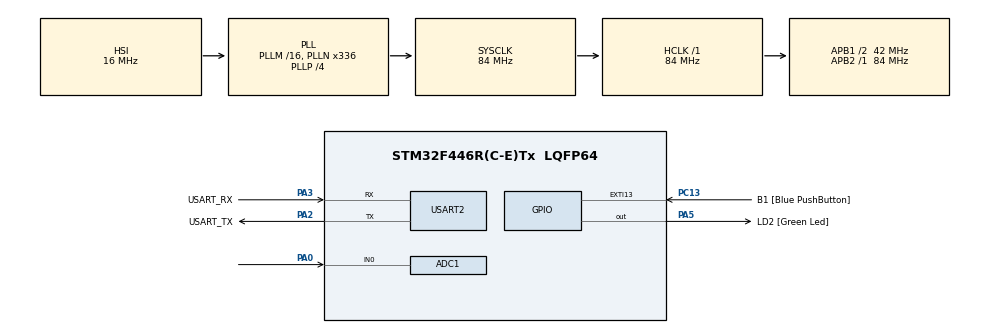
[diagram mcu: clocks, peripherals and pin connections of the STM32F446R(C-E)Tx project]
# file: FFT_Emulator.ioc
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ADC1.Channel-0\#ChannelRegularConversion=ADC_CHANNEL_0
ADC1.ContinuousConvMode=ENABLE
ADC1.DMAContinuousRequests=ENABLE
ADC1.NbrOfConversionFlag=1
ADC1.Rank-0\#ChannelRegularConversion=1
ADC1.SamplingTime-0\#ChannelRegularConversion=ADC_SAMPLETIME_3CYCLES
ADC1.master=1
Dma.ADC1.0.Direction=DMA_PERIPH_TO_MEMORY
Dma.ADC1.0.FIFOMode=DMA_FIFOMODE_DISABLE
Dma.ADC1.0.Instance=DMA2_Stream0
Dma.ADC1.0.MemDataAlignment=DMA_MDATAALIGN_HALFWORD
Dma.ADC1.0.MemInc=DMA_MINC_ENABLE
Dma.ADC1.0.Mode=DMA_CIRCULAR
Dma.ADC1.0.PeriphDataAlignment=DMA_PDATAALIGN_HALFWORD
Dma.ADC1.0.PeriphInc=DMA_PINC_DISABLE
Dma.ADC1.0.Priority=DMA_PRIORITY_LOW
Dma.Request0=ADC1
Dma.Request1=USART2_TX
Dma.USART2_TX.1.Direction=DMA_MEMORY_TO_PERIPH
Dma.USART2_TX.1.FIFOMode=DMA_FIFOMODE_DISABLE
Dma.USART2_TX.1.Instance=DMA1_Stream6
Dma.USART2_TX.1.MemDataAlignment=DMA_MDATAALIGN_BYTE
Dma.USART2_TX.1.MemInc=DMA_MINC_ENABLE
Dma.USART2_TX.1.Mode=DMA_NORMAL
Dma.USART2_TX.1.PeriphDataAlignment=DMA_PDATAALIGN_BYTE
Dma.USART2_TX.1.PeriphInc=DMA_PINC_DISABLE
Dma.USART2_TX.1.Priority=DMA_PRIORITY_LOW
Mcu.Family=STM32F4
Mcu.Name=STM32F446R(C-E)Tx
Mcu.Package=LQFP64
NVIC.DMA1_Stream6_IRQn=true\:0\:0\:false\:false\:true\:false\:true\:true
NVIC.DMA2_Stream0_IRQn=true\:0\:0\:false\:false\:true\:false\:true\:true
NVIC.PriorityGroup=NVIC_PRIORITYGROUP_0
PA0-WKUP.Signal=ADCx_IN0
PA13.GPIO_Label=TMS
PA13.Mode=Serial_Wire
PA13.Signal=SYS_JTMS-SWDIO
PA14.GPIO_Label=TCK
PA14.Mode=Serial_Wire
PA14.Signal=SYS_JTCK-SWCLK
PA2.GPIO_Label=USART_TX
PA2.Mode=Asynchronous
PA2.Signal=USART2_TX
PA3.GPIO_Label=USART_RX
PA3.Mode=Asynchronous
PA3.Signal=USART2_RX
PA5.GPIO_Label=LD2 [Green Led]
PA5.Signal=GPIO_Output
PB3.GPIO_Label=SWO
PB3.Signal=SYS_JTDO-SWO
PC13.GPIO_Label=B1 [Blue PushButton]
PC13.GPIO_ModeDefaultEXTI=GPIO_MODE_IT_FALLING
PC13.Signal=GPXTI13
PC14-OSC32_IN.Mode=LSE-External-Oscillator
PC14-OSC32_IN.Signal=RCC_OSC32_IN
PC15-OSC32_OUT.Mode=LSE-External-Oscillator
PC15-OSC32_OUT.Signal=RCC_OSC32_OUT
PH0-OSC_IN.Mode=HSE-External-Oscillator
PH0-OSC_IN.Signal=RCC_OSC_IN
PH1-OSC_OUT.Mode=HSE-External-Oscillator
PH1-OSC_OUT.Signal=RCC_OSC_OUT
ProjectManager.HeapSize=0x200
ProjectManager.StackSize=0x400
ProjectManager.TargetToolchain=STM32CubeIDE
RCC.48MHZClocksFreq_Value=84000000
RCC.AHBFreq_Value=84000000
RCC.APB1CLKDivider=RCC_HCLK_DIV2
RCC.APB1Freq_Value=42000000
RCC.APB1TimFreq_Value=84000000
RCC.APB2Freq_Value=84000000
RCC.APB2TimFreq_Value=84000000
RCC.CortexFreq_Value=84000000
RCC.FLatency-AdvancedSettings=FLASH_LATENCY_2
RCC.HCLKFreq_Value=84000000
RCC.HSE_VALUE=8000000
RCC.HSI_VALUE=16000000
RCC.PLLN=336
RCC.PLLP=RCC_PLLP_DIV4
RCC.SYSCLKFreq_VALUE=84000000
RCC.SYSCLKSource=RCC_SYSCLKSOURCE_PLLCLK
RCC.USBFreq_Value=168000000
RCC.VCOOutputFreq_Value=336000000
SH.ADCx_IN0.0=ADC1_IN0,IN0
USART2.VirtualMode=VM_ASYNC
board=NUCLEO-F446RE

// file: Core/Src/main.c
/* USER CODE BEGIN Header */
/**
  ******************************************************************************
  * @file           : main.c
  * @brief          : Main program body
  ******************************************************************************
  * @attention
  *
  * Copyright (c) 2023 STMicroelectronics.
  * All rights reserved.
  *
  * This software is licensed under terms that can be found in the LICENSE file
  * in the root directory of this software component.
  * If no LICENSE file comes with this software, it is provided AS-IS.
  *
  ******************************************************************************
  */
/* USER CODE END Header */
#include "main.h"

/* USER CODE BEGIN Includes */
#define ARM_MATH_CM4
#include "arm_math.h"
/* USER CODE END Includes */

/* USER CODE BEGIN PD */

//number of samples that we will contain in the buffer
#define ADC_BUF_LEN 4096
#define FFT_SIZE 4096

/* USER CODE END PD */

ADC_HandleTypeDef hadc1;
DMA_HandleTypeDef hdma_adc1;

UART_HandleTypeDef huart2;
DMA_HandleTypeDef hdma_usart2_tx;

void SystemClock_Config(void);
static void MX_GPIO_Init(void);
static void MX_DMA_Init(void);
static void MX_USART2_UART_Init(void);
static void MX_ADC1_Init(void);
/* USER CODE BEGIN PFP */
void DoFFT(void);
/* USER CODE END PFP */

/* USER CODE BEGIN 0 */
//4096 12bit sample values
uint16_t adc_buf[ADC_BUF_LEN];

float fft_in_buf[FFT_SIZE];
float fft_out_buf[FFT_SIZE];

arm_rfft_fast_instance_f32 fft_handler;

float real_fsample = 1400000;
uint8_t outarray[FFT_SIZE / 2];
uint8_t uartfree = 1;
uint8_t dmafree = 0;

// Define different states
typedef enum {
    STATE_IDLE,
    STATE_PROCESS_AUDIO,
    STATE_SEND_FFT,  // Add more states as needed
} State;

State currentState = STATE_IDLE;

/* USER CODE END 0 */

//**********************************************************************************************
//**********************************************************************************************
//**********************************************************************************************
int main(void) //***************************************************************************************
{
  /* USER CODE BEGIN 1 */
	// Define different states

  /* USER CODE END 1 */

  /* MCU Configuration--------------------------------------------------------*/

  /* Reset of all peripherals, Initializes the Flash interface and the Systick. */
  HAL_Init();

  /* Configure the system clock */
  SystemClock_Config();

  /* Initialize all configured peripherals */
  MX_GPIO_Init();
  MX_DMA_Init();
  MX_USART2_UART_Init();
  MX_ADC1_Init();
  /* USER CODE BEGIN 2 */
  HAL_ADC_Start_DMA(&hadc1, (uint32_t*)adc_buf, ADC_BUF_LEN);
  arm_rfft_fast_init_f32(&fft_handler, 4096);
  /* USER CODE END 2 */

  /* Infinite loop */
  /* USER CODE BEGIN WHILE */
  while (1)
  {
  	switch (currentState)
  	{
			case STATE_IDLE:
				//WAIT
				dmafree = 1;
				break;
			case STATE_PROCESS_AUDIO:
				//convert to float and call function
				int fft_in_ptr = 0;
				for (int i=0; i<ADC_BUF_LEN; i++)
				{
					fft_in_buf[fft_in_ptr] = (float32_t) ((int) (adc_buf[i]));
					fft_in_ptr++;
				}
				DoFFT();
				break;
			case STATE_SEND_FFT:
				//send fft data over uart
				if (uartfree==1) HAL_UART_Transmit_DMA(&huart2, &outarray[0], 2048);
					uartfree = 0;
					currentState = STATE_IDLE;
				break;
  	}

    /* USER CODE END WHILE */

  }
}//**********************************************************************************************
//**********************************************************************************************
//**********************************************************************************************
//**********************************************************************************************

void SystemClock_Config(void)
{
  RCC_OscInitTypeDef RCC_OscInitStruct = {0};
  RCC_ClkInitTypeDef RCC_ClkInitStruct = {0};

  /** Configure the main internal regulator output voltage
  */
  __HAL_RCC_PWR_CLK_ENABLE();
  __HAL_PWR_VOLTAGESCALING_CONFIG(PWR_REGULATOR_VOLTAGE_SCALE3);

  /** Initializes the RCC Oscillators according to the specified parameters
  * in the RCC_OscInitTypeDef structure.
  */
  RCC_OscInitStruct.OscillatorType = RCC_OSCILLATORTYPE_HSI;
  RCC_OscInitStruct.HSIState = RCC_HSI_ON;
  RCC_OscInitStruct.HSICalibrationValue = RCC_HSICALIBRATION_DEFAULT;
  RCC_OscInitStruct.PLL.PLLState = RCC_PLL_ON;
  RCC_OscInitStruct.PLL.PLLSource = RCC_PLLSOURCE_HSI;
  RCC_OscInitStruct.PLL.PLLM = 16;
  RCC_OscInitStruct.PLL.PLLN = 336;
  RCC_OscInitStruct.PLL.PLLP = RCC_PLLP_DIV4;
  RCC_OscInitStruct.PLL.PLLQ = 2;
  RCC_OscInitStruct.PLL.PLLR = 2;
  if (HAL_RCC_OscConfig(&RCC_OscInitStruct) != HAL_OK)
  {
    Error_Handler();
  }

  /** Initializes the CPU, AHB and APB buses clocks
  */
  RCC_ClkInitStruct.ClockType = RCC_CLOCKTYPE_HCLK|RCC_CLOCKTYPE_SYSCLK
                              |RCC_CLOCKTYPE_PCLK1|RCC_CLOCKTYPE_PCLK2;
  RCC_ClkInitStruct.SYSCLKSource = RCC_SYSCLKSOURCE_PLLCLK;
  RCC_ClkInitStruct.AHBCLKDivider = RCC_SYSCLK_DIV1;
  RCC_ClkInitStruct.APB1CLKDivider = RCC_HCLK_DIV2;
  RCC_ClkInitStruct.APB2CLKDivider = RCC_HCLK_DIV1;

  if (HAL_RCC_ClockConfig(&RCC_ClkInitStruct, FLASH_LATENCY_2) != HAL_OK)
  {
    Error_Handler();
  }
}

static void MX_ADC1_Init(void)
{

  ADC_ChannelConfTypeDef sConfig = {0};

  /** Configure the global features of the ADC (Clock, Resolution, Data Alignment and number of conversion)
  */
  hadc1.Instance = ADC1;
  hadc1.Init.ClockPrescaler = ADC_CLOCK_SYNC_PCLK_DIV4;
  hadc1.Init.Resolution = ADC_RESOLUTION_12B;
  hadc1.Init.ScanConvMode = DISABLE;
  hadc1.Init.ContinuousConvMode = ENABLE;
  hadc1.Init.DiscontinuousConvMode = DISABLE;
  hadc1.Init.ExternalTrigConvEdge = ADC_EXTERNALTRIGCONVEDGE_NONE;
  hadc1.Init.ExternalTrigConv = ADC_SOFTWARE_START;
  hadc1.Init.DataAlign = ADC_DATAALIGN_RIGHT;
  hadc1.Init.NbrOfConversion = 1;
  hadc1.Init.DMAContinuousRequests = ENABLE;
  hadc1.Init.EOCSelection = ADC_EOC_SINGLE_CONV;
  if (HAL_ADC_Init(&hadc1) != HAL_OK)
  {
    Error_Handler();
  }

  /** Configure for the selected ADC regular channel its corresponding rank in the sequencer and its sample time.
  */
  sConfig.Channel = ADC_CHANNEL_0;
  sConfig.Rank = 1;
  sConfig.SamplingTime = ADC_SAMPLETIME_3CYCLES;
  if (HAL_ADC_ConfigChannel(&hadc1, &sConfig) != HAL_OK)
  {
    Error_Handler();
  }

}

static void MX_USART2_UART_Init(void)
{

  huart2.Instance = USART2;
  huart2.Init.BaudRate = 115200;
  huart2.Init.WordLength = UART_WORDLENGTH_8B;
  huart2.Init.StopBits = UART_STOPBITS_1;
  huart2.Init.Parity = UART_PARITY_NONE;
  huart2.Init.Mode = UART_MODE_TX_RX;
  huart2.Init.HwFlowCtl = UART_HWCONTROL_NONE;
  huart2.Init.OverSampling = UART_OVERSAMPLING_16;
  if (HAL_UART_Init(&huart2) != HAL_OK)
  {
    Error_Handler();
  }

}

static void MX_DMA_Init(void)
{

  /* DMA controller clock enable */
  __HAL_RCC_DMA2_CLK_ENABLE();
  __HAL_RCC_DMA1_CLK_ENABLE();

  /* DMA interrupt init */
  /* DMA1_Stream6_IRQn interrupt configuration */
  HAL_NVIC_SetPriority(DMA1_Stream6_IRQn, 0, 0);
  HAL_NVIC_EnableIRQ(DMA1_Stream6_IRQn);
  /* DMA2_Stream0_IRQn interrupt configuration */
  HAL_NVIC_SetPriority(DMA2_Stream0_IRQn, 0, 0);
  HAL_NVIC_EnableIRQ(DMA2_Stream0_IRQn);

}

static void MX_GPIO_Init(void)
{
  GPIO_InitTypeDef GPIO_InitStruct = {0};

  /* GPIO Ports Clock Enable */
  __HAL_RCC_GPIOC_CLK_ENABLE();
  __HAL_RCC_GPIOH_CLK_ENABLE();
  __HAL_RCC_GPIOA_CLK_ENABLE();
  __HAL_RCC_GPIOB_CLK_ENABLE();

  /*Configure GPIO pin Output Level */
  HAL_GPIO_WritePin(LD2_GPIO_Port, LD2_Pin, GPIO_PIN_RESET);

  /*Configure GPIO pin : B1_Pin */
  GPIO_InitStruct.Pin = B1_Pin;
  GPIO_InitStruct.Mode = GPIO_MODE_IT_FALLING;
  GPIO_InitStruct.Pull = GPIO_NOPULL;
  HAL_GPIO_Init(B1_GPIO_Port, &GPIO_InitStruct);

  /*Configure GPIO pin : LD2_Pin */
  GPIO_InitStruct.Pin = LD2_Pin;
  GPIO_InitStruct.Mode = GPIO_MODE_OUTPUT_PP;
  GPIO_InitStruct.Pull = GPIO_NOPULL;
  GPIO_InitStruct.Speed = GPIO_SPEED_FREQ_LOW;
  HAL_GPIO_Init(LD2_GPIO_Port, &GPIO_InitStruct);

}

/* USER CODE BEGIN 4 */
float complexABS(float real, float compl) {
	return sqrtf(real*real+compl*compl);
}
void DoFFT()
{
	//Do FFT
	arm_rfft_fast_f32(&fft_handler, fft_in_buf, fft_out_buf, 0);

	int freqs[2048];
	int freqpoint = 0;
	int offset = 150; //variable noisefloor offset

	//calculate abs values and linear-to-dB
	for (int i=0; i<4096; i=i+2) {
		freqs[freqpoint] = (int)(20*log10f(complexABS(fft_out_buf[i], fft_out_buf[i+1])))-offset;
		if (freqs[freqpoint]<0) freqs[freqpoint]=0;
		freqpoint++;
	}

	//push out data to Uart
	outarray[0] = 0xff; //frame start
	for (int i = 0; i < 2048; i++)
	{
		if (i == 0)
		{
			outarray[0] = 0xff; //frame start
		}
		else
		{
			outarray[i] = (uint8_t)freqs[i];
		}
	}
	currentState = STATE_SEND_FFT;
}

void HAL_UART_TxCpltCallback (UART_HandleTypeDef *huart)
{
	uartfree = 1;
	huart2.gState=HAL_UART_STATE_READY;
}

// Called when first half of buffer is filled
/*void HAL_ADC_ConvHalfCpltCallback(ADC_HandleTypeDef* hadc) {
  HAL_GPIO_WritePin(LD2_GPIO_Port, LD2_Pin, GPIO_PIN_SET);
}*/

// Called when buffer is completely filled
void HAL_ADC_ConvCpltCallback(ADC_HandleTypeDef* hadc) {
  HAL_GPIO_WritePin(LD2_GPIO_Port, LD2_Pin, GPIO_PIN_RESET);
  if (dmafree)
  {
    currentState = STATE_PROCESS_AUDIO;
    dmafree = 0;
  }
}
/* USER CODE END 4 */

void Error_Handler(void)
{
  __disable_irq();
  while (1)
  {
  }
}
